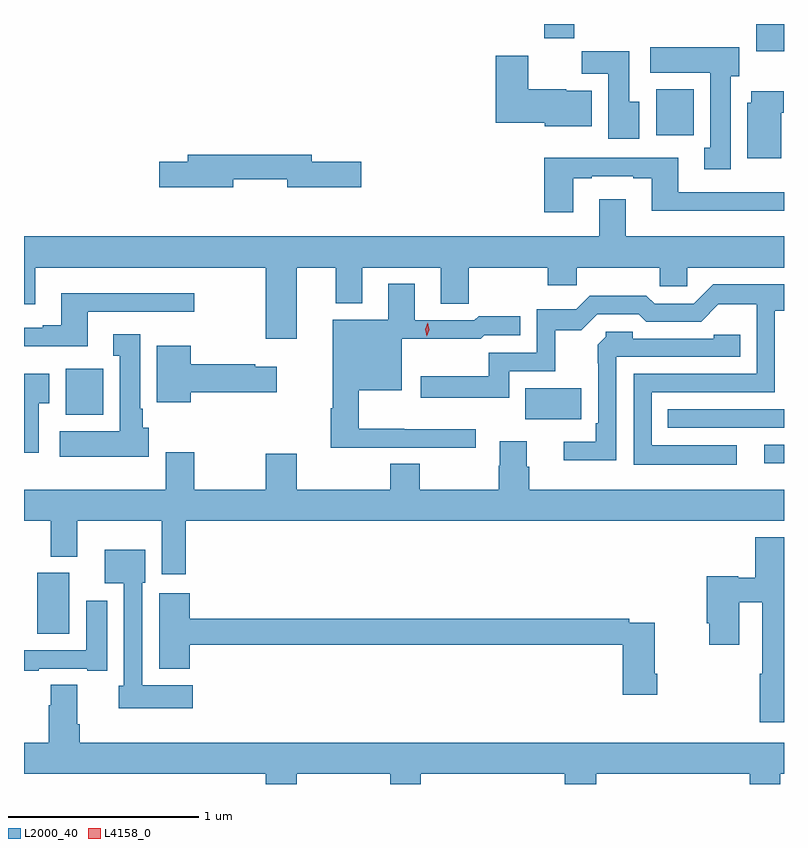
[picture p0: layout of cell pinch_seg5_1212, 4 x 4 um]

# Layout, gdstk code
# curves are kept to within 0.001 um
import gdstk
lib = gdstk.Library(unit=1e-6, precision=1e-09)
def R(c, l, rs):  # rectangles x0, y0, x1, y1
    for r in rs: c.add(gdstk.rectangle(r[:2], r[2:], *l))
def P(c, l, *ps):  # polygons
    for p in ps: c.add(gdstk.Polygon(p, *l))
L2000_40 = (2000, 40)
L4158_0 = (4158, 0)

pinch_seg5_1212 = lib.new_cell('pinch_seg5_1212')
R(pinch_seg5_1212, L2000_40, [(439.529,890.798,439.699,891.118), (443.355,891.695,443.46,891.792), (442.849,891.882,443.46,891.978), (442.099,891.926,442.392,892.09), (439.679,891.95,439.876,892.192), (442.787,893.42,442.984,893.662), (443.315,893.862,443.46,894.006), (442.199,893.932,442.355,894.006)])
P(pinch_seg5_1212, L2000_40, [(443.179,893.73),(443.224,893.73),(443.224,893.884),(442.755,893.884),(442.755,893.75),(443.072,893.75),(443.072,893.354),(443.039,893.354),(443.039,893.241),(443.179,893.241)],
  [(442.699,893.596),(442.645,893.596),(442.645,893.863),(442.396,893.863),(442.396,893.744),(442.535,893.744),(442.535,893.403),(442.699,893.403)],
  [(442.447,893.656),(442.314,893.656),(442.314,893.662),(442.114,893.662),(442.114,893.839),(441.944,893.839),(441.944,893.486),(442.2,893.486),(442.2,893.468),(442.447,893.468)],
  [(443.446,893.54),(443.459,893.54),(443.459,893.653),(443.288,893.653),(443.288,893.592),(443.267,893.592),(443.267,893.3),(443.446,893.3)],
  [(440.56,893.19),(440.846,893.19),(440.846,893.147),(441.235,893.147),(441.235,893.282),(440.974,893.282),(440.974,893.318),(440.321,893.318),(440.321,893.282),(440.172,893.282),(440.172,893.147),(440.56,893.147)],
  [(442.351,893.193),(442.447,893.193),(442.447,893.205),(442.667,893.205),(442.667,893.193),(442.763,893.193),(442.763,893.024),(443.46,893.024),(443.46,893.121),(442.903,893.121),(442.903,893.301),(442.439,893.301),(442.439,893.302),(442.199,893.302),(442.199,893.016),(442.351,893.016)],
  [(440.896,892.724),(441.101,892.724),(441.101,892.535),(441.241,892.535),(441.241,892.724),(441.653,892.724),(441.653,892.534),(441.801,892.534),(441.801,892.724),(442.216,892.724),(442.216,892.631),(442.37,892.631),(442.37,892.724),(442.805,892.724),(442.805,892.626),(442.95,892.626),(442.95,892.724),(443.46,892.724),(443.46,892.888),(442.627,892.888),(442.627,893.083),(442.487,893.083),(442.487,892.888),(439.46,892.888),(439.46,892.53),(439.519,892.53),(439.519,892.724),(440.732,892.724),(440.732,892.35),(440.896,892.35)],
  [(441.299,891.777),(441.838,891.777),(441.838,891.874),(441.221,891.875),(441.221,892.079),(441.448,892.079),(441.448,892.349),(441.863,892.349),(441.882,892.368),(442.073,892.368),(442.073,892.469),(441.854,892.469),(441.831,892.446),(441.517,892.446),(441.517,892.639),(441.377,892.639),(441.377,892.45),(441.086,892.45),(441.086,891.983),(441.074,891.983),(441.074,891.775),(441.299,891.775)],
  [(443.212,891.79),(442.764,891.79),(442.764,892.068),(443.412,892.068),(443.412,892.498),(443.46,892.498),(443.46,892.636),(443.088,892.636),(442.985,892.533),(442.779,892.533),(442.736,892.576),(442.438,892.576),(442.366,892.504),(442.158,892.504),(442.158,892.275),(441.906,892.275),(441.906,892.153),(441.549,892.153),(441.549,892.04),(442.014,892.04),(442.014,892.179),(442.257,892.179),(442.257,892.395),(442.392,892.395),(442.476,892.479),(442.695,892.479),(442.734,892.44),(443.025,892.44),(443.115,892.53),(443.316,892.53),(443.316,892.164),(442.668,892.164),(442.668,891.686),(443.212,891.686)],
  [(439.795,892.491),(440.356,892.491),(440.356,892.588),(439.655,892.588),(439.655,892.42),(439.559,892.42),(439.559,892.407),(439.46,892.407),(439.46,892.31),(439.795,892.31)],
  [(442.578,892.254),(443.231,892.254),(443.231,892.371),(443.091,892.371),(443.091,892.35),(442.664,892.35),(442.664,892.386),(442.521,892.386),(442.521,892.36),(442.48,892.319),(442.48,892.22),(442.482,892.22),(442.482,891.904),(442.47,891.904),(442.47,891.807),(442.302,891.807),(442.302,891.71),(442.578,891.71)],
  [(440.116,891.882),(440.086,891.882),(440.086,891.982),(440.071,891.982),(440.071,892.372),(439.931,892.372),(439.931,892.259),(439.964,892.259),(439.964,891.862),(439.647,891.862),(439.647,891.728),(440.116,891.728)],
  [(440.338,892.067),(440.791,892.067),(440.791,892.201),(440.678,892.201),(440.678,892.214),(440.338,892.214),(440.338,892.312),(440.159,892.312),(440.159,892.016),(440.338,892.016)],
  [(439.537,892.009),(439.594,892.009),(439.594,892.165),(439.46,892.165),(439.46,891.75),(439.537,891.75)],
  [(440.312,891.392),(443.46,891.392),(443.46,891.556),(442.118,891.556),(442.118,891.675),(442.105,891.675),(442.105,891.811),(441.965,891.811),(441.965,891.68),(441.958,891.68),(441.958,891.556),(441.543,891.556),(441.543,891.692),(441.388,891.692),(441.388,891.556),(440.896,891.556),(440.896,891.745),(440.732,891.745),(440.732,891.556),(440.355,891.556),(440.355,891.751),(440.207,891.751),(440.207,891.556),(439.46,891.556),(439.46,891.392),(439.601,891.392),(439.601,891.203),(439.741,891.203),(439.741,891.392),(440.186,891.392),(440.186,891.111),(440.312,891.111)],
  [(443.46,891.304),(443.309,891.304),(443.309,891.091),(443.22,891.091),(443.22,891.099),(443.054,891.099),(443.054,890.851),(443.066,890.851),(443.066,890.739),(443.224,890.739),(443.224,890.962),(443.345,890.962),(443.345,890.586),(443.333,890.586),(443.333,890.331),(443.46,890.331)],
  [(440.347,890.527),(440.082,890.527),(440.082,891.066),(440.098,891.066),(440.098,891.238),(439.886,891.238),(439.886,891.062),(439.986,891.062),(439.986,890.523),(439.958,890.523),(439.958,890.405),(440.347,890.405)],
  [(442.793,890.587),(442.78,890.587),(442.78,890.856),(442.646,890.856),(442.646,890.876),(440.333,890.876),(440.333,891.01),(440.171,891.01),(440.171,890.612),(440.333,890.612),(440.333,890.74),(442.61,890.74),(442.61,890.475),(442.793,890.475)],
  [(439.537,890.613),(439.793,890.613),(439.793,890.601),(439.897,890.601),(439.897,890.971),(439.787,890.971),(439.787,890.709),(439.46,890.709),(439.46,890.601),(439.537,890.601)],
  [(440.896,890.06),(441.388,890.06),(441.388,890.006),(441.548,890.006),(441.548,890.06),(442.307,890.06),(442.307,890.006),(442.472,890.006),(442.472,890.06),(443.279,890.06),(443.279,890.006),(443.439,890.006),(443.439,890.06),(443.46,890.06),(443.46,890.224),(439.754,890.224),(439.754,890.32),(439.741,890.32),(439.741,890.528),(439.601,890.528),(439.601,890.42),(439.589,890.42),(439.589,890.224),(439.46,890.224),(439.46,890.06),(440.732,890.06),(440.732,890.006),(440.896,890.006)])
P(pinch_seg5_1212, L4158_0, [(441.58,892.363),(441.58,892.363),(441.572,892.399),(441.584,892.434),(441.584,892.434),(441.585,892.434),(441.592,892.398),(441.581,892.363)])

lib.write_gds('pinch_seg5_1212.gds')
